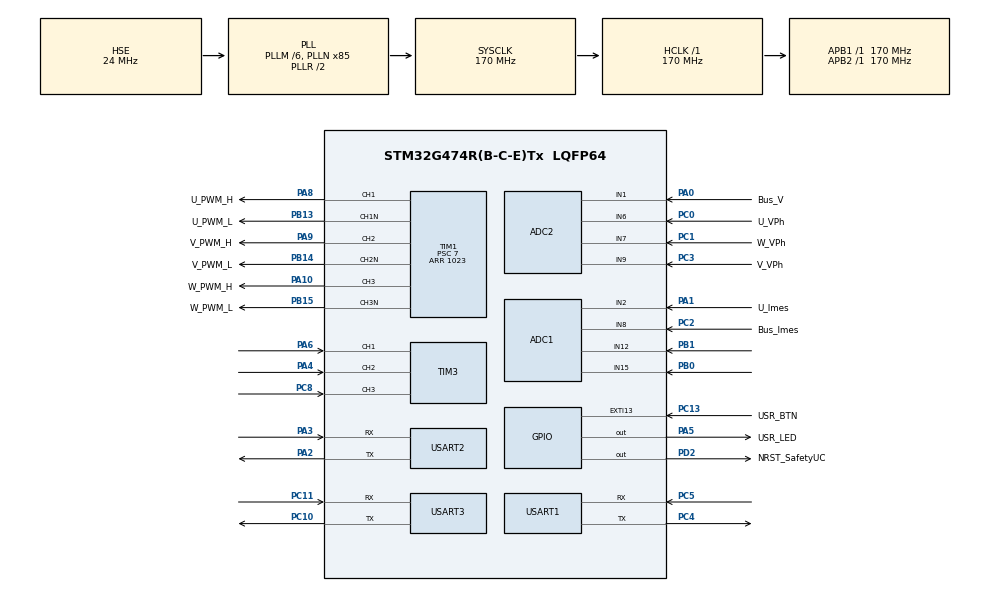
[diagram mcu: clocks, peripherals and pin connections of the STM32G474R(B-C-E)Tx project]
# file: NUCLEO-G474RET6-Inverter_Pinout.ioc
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ADC1.Channel-0\#ChannelRegularConversion=ADC_CHANNEL_8
ADC1.NbrOfConversionFlag=1
ADC1.OffsetNumber-0\#ChannelRegularConversion=ADC_OFFSET_NONE
ADC1.Rank-0\#ChannelRegularConversion=1
ADC1.SamplingTime-0\#ChannelRegularConversion=ADC_SAMPLETIME_2CYCLES_5
ADC1.master=1
ADC2.Channel-0\#ChannelRegularConversion=ADC_CHANNEL_6
ADC2.NbrOfConversionFlag=1
ADC2.OffsetNumber-0\#ChannelRegularConversion=ADC_OFFSET_NONE
ADC2.Rank-0\#ChannelRegularConversion=1
ADC2.SamplingTime-0\#ChannelRegularConversion=ADC_SAMPLETIME_2CYCLES_5
Mcu.Family=STM32G4
Mcu.Name=STM32G474R(B-C-E)Tx
Mcu.Package=LQFP64
NVIC.ADC1_2_IRQn=true\:0\:0\:false\:false\:true\:true\:true\:true
NVIC.EXTI15_10_IRQn=true\:0\:0\:false\:false\:true\:true\:true\:true
NVIC.PriorityGroup=NVIC_PRIORITYGROUP_4
NVIC.TIM1_UP_TIM16_IRQn=true\:0\:0\:false\:false\:true\:true\:true\:true
NVIC.TIM6_DAC_IRQn=true\:15\:0\:false\:false\:true\:false\:true\:true
NVIC.TIM7_DAC_IRQn=true\:0\:0\:false\:false\:true\:true\:true\:true
NVIC.TimeBase=TIM6_DAC_IRQn
NVIC.TimeBaseIP=TIM6
NVIC.USART2_IRQn=true\:0\:0\:false\:false\:true\:true\:true\:true
NVIC.USART3_IRQn=true\:0\:0\:false\:false\:true\:true\:true\:true
PA0.GPIO_Label=Bus_V
PA0.Mode=IN1-Single-Ended
PA0.Signal=ADC2_IN1
PA1.GPIO_Label=U_Imes
PA1.Mode=IN2-Single-Ended
PA1.Signal=ADC1_IN2
PA10.GPIO_Label=W_PWM_H
PA10.Signal=S_TIM1_CH3
PA13.GPIO_Label=T_SWDIO
PA13.Mode=Trace_Asynchronous_SW
PA13.Signal=SYS_JTMS-SWDIO
PA14.GPIO_Label=T_SWCLK
PA14.Mode=Trace_Asynchronous_SW
PA14.Signal=SYS_JTCK-SWCLK
PA2.Mode=Asynchronous
PA2.Signal=USART2_TX
PA3.Mode=Asynchronous
PA3.Signal=USART2_RX
PA4.Signal=S_TIM3_CH2
PA5.GPIO_Label=USR_LED
PA5.Signal=GPIO_Output
PA6.Signal=S_TIM3_CH1
PA8.GPIO_Label=U_PWM_H
PA8.Signal=S_TIM1_CH1
PA9.GPIO_Label=V_PWM_H
PA9.Signal=S_TIM1_CH2
PB0.Mode=IN15-Single-Ended
PB0.Signal=ADC1_IN15
PB1.Mode=IN12-Single-Ended
PB1.Signal=ADC1_IN12
PB13.GPIO_Label=U_PWM_L
PB13.Mode=PWM Generation1 CH1 CH1N
PB13.Signal=TIM1_CH1N
PB14.GPIO_Label=V_PWM_L
PB14.Mode=PWM Generation2 CH2 CH2N
PB14.Signal=TIM1_CH2N
PB15.GPIO_Label=W_PWM_L
PB15.Mode=PWM Generation3 CH3 CH3N
PB15.Signal=TIM1_CH3N
PB2.Signal=ADC2_IN12
PB3.GPIO_Label=T_SWO
PB3.Mode=Trace_Asynchronous_SW
PB3.Signal=SYS_JTDO-SWO
PC0.GPIO_Label=U_VPh
PC0.Mode=IN6-Single-Ended
PC0.Signal=ADC2_IN6
PC1.GPIO_Label=W_VPh
PC1.Mode=IN7-Single-Ended
PC1.Signal=ADC2_IN7
PC10.Mode=Asynchronous
PC10.Signal=USART3_TX
PC11.Mode=Asynchronous
PC11.Signal=USART3_RX
PC13.GPIO_Label=USR_BTN
PC13.Signal=GPXTI13
PC14-OSC32_IN.Mode=LSE-External-Oscillator
PC14-OSC32_IN.Signal=RCC_OSC32_IN
PC15-OSC32_OUT.Mode=LSE-External-Oscillator
PC15-OSC32_OUT.Signal=RCC_OSC32_OUT
PC2.GPIO_Label=Bus_Imes
PC2.Mode=IN8-Single-Ended
PC2.Signal=ADC1_IN8
PC3.GPIO_Label=V_VPh
PC3.Mode=IN9-Single-Ended
PC3.Signal=ADC2_IN9
PC4.Mode=Asynchronous
PC4.Signal=USART1_TX
PC5.Mode=Asynchronous
PC5.Signal=USART1_RX
PC8.Signal=S_TIM3_CH3
PD2.GPIO_Label=NRST_SafetyUC
PD2.Signal=GPIO_Output
PF0-OSC_IN.Mode=HSE-External-Oscillator
PF0-OSC_IN.Signal=RCC_OSC_IN
PF1-OSC_OUT.Mode=HSE-External-Oscillator
PF1-OSC_OUT.Signal=RCC_OSC_OUT
ProjectManager.HeapSize=0x200
ProjectManager.StackSize=0x400
ProjectManager.TargetToolchain=STM32CubeIDE
RCC.ADC12Freq_Value=170000000
RCC.ADC345Freq_Value=170000000
RCC.AHBFreq_Value=170000000
RCC.APB1Freq_Value=170000000
RCC.APB1TimFreq_Value=170000000
RCC.APB2Freq_Value=170000000
RCC.APB2TimFreq_Value=170000000
RCC.CortexFreq_Value=170000000
RCC.EXTERNAL_CLOCK_VALUE=12288000
RCC.HCLKFreq_Value=170000000
RCC.HSE_VALUE=24000000
RCC.HSI48_VALUE=48000000
RCC.HSI_VALUE=16000000
RCC.PLLM=RCC_PLLM_DIV6
RCC.PLLN=85
RCC.PLLSourceVirtual=RCC_PLLSOURCE_HSE
RCC.RTCClockSelection=RCC_RTCCLKSOURCE_LSE
RCC.SYSCLKFreq_VALUE=170000000
RCC.SYSCLKSource=RCC_SYSCLKSOURCE_PLLCLK
RCC.USBFreq_Value=170000000
RCC.VCOOutputFreq_Value=340000000
SH.S_TIM1_CH1.0=TIM1_CH1,PWM Generation1 CH1 CH1N
SH.S_TIM1_CH2.0=TIM1_CH2,PWM Generation2 CH2 CH2N
SH.S_TIM1_CH3.0=TIM1_CH3,PWM Generation3 CH3 CH3N
SH.S_TIM3_CH1.0=TIM3_CH1,Xored_Inputs_Hall_Sensor_Interface
SH.S_TIM3_CH2.0=TIM3_CH2,Xored_Inputs_Hall_Sensor_Interface
SH.S_TIM3_CH3.0=TIM3_CH3,Xored_Inputs_Hall_Sensor_Interface
TIM1.Channel-PWM\ Generation1\ CH1\ CH1N=TIM_CHANNEL_1
TIM1.Channel-PWM\ Generation2\ CH2\ CH2N=TIM_CHANNEL_2
TIM1.Channel-PWM\ Generation3\ CH3\ CH3N=TIM_CHANNEL_3
TIM1.CounterMode=TIM_COUNTERMODE_CENTERALIGNED1
TIM1.DeadTime=200
TIM1.OCMode_PWM-PWM\ Generation1\ CH1\ CH1N=TIM_OCMODE_PWM1
TIM1.OCMode_PWM-PWM\ Generation2\ CH2\ CH2N=TIM_OCMODE_PWM1
TIM1.PeriodNoDither=1023
TIM1.Prescaler=7
TIM1.PulseNoDither_1=819
TIM1.PulseNoDither_2=1023-819
TIM1.PulseNoDither_3=205
TIM7.PeriodNoDither=999
TIM7.Prescaler=3000
USART1.VirtualMode-Asynchronous=VM_ASYNC
USART2.VirtualMode-Asynchronous=VM_ASYNC
USART3.VirtualMode-Asynchronous=VM_ASYNC
VP_SYS_VS_DBSignals.Mode=DisableDeadBatterySignals
VP_SYS_VS_tim6.Mode=TIM6
VP_TIM16_VS_ClockSourceINT.Mode=Enable_Timer
VP_TIM7_VS_ClockSourceINT.Mode=Enable_Timer
board=NUCLEO-G474RE

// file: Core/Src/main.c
/* USER CODE BEGIN Header */
/**
 ******************************************************************************
 * @file           : main.c
 * @brief          : Main program body
 ******************************************************************************
 * @attention
 *
 * Copyright (c) 2023 STMicroelectronics.
 * All rights reserved.
 *
 * This software is licensed under terms that can be found in the LICENSE file
 * in the root directory of this software component.
 * If no LICENSE file comes with this software, it is provided AS-IS.
 *
 ******************************************************************************
 */
/* USER CODE END Header */
#include "main.h"
#include "adc.h"
#include "tim.h"
#include "usart.h"
#include "gpio.h"

/* USER CODE BEGIN Includes */
#include "mylibs/shell.h"
#include "string.h"
#include "stdio.h"
/* USER CODE END Includes */

/* USER CODE BEGIN PV */
int speedMesuree;
uint16_t adc_value;
float courant_mes;
float offset_courant;

/* USER CODE END PV */

void SystemClock_Config(void);
/* USER CODE BEGIN PFP */
void ChangeSpeed(int speedValue){
	TIM1->CCR1 = (TIM1->ARR)*speedValue/100;
	TIM1->CCR2 =  (TIM1->ARR)*(100-speedValue)/100;
}

void read_current()
{
	HAL_ADC_Start_IT(&hadc1);
}

/* USER CODE END PFP */

int main(void)
{
  /* USER CODE BEGIN 1 */
	speedMesuree=20;
  /* USER CODE END 1 */

  /* MCU Configuration--------------------------------------------------------*/

  /* Reset of all peripherals, Initializes the Flash interface and the Systick. */
  HAL_Init();

  /* USER CODE BEGIN Init */
	char buffer[20]="";
	int input;
	int nbChar =0;
	int vitesseCible;
  /* USER CODE END Init */

  /* Configure the system clock */
  SystemClock_Config();

  /* Initialize all configured peripherals */
  MX_GPIO_Init();
  MX_ADC2_Init();
  MX_ADC1_Init();
  MX_TIM1_Init();
  MX_TIM3_Init();
  MX_USART2_UART_Init();
  MX_USART3_UART_Init();
  MX_USART1_UART_Init();
  MX_TIM7_Init();
  MX_TIM16_Init();
  /* USER CODE BEGIN 2 */
	HAL_TIM_Base_Start_IT(&htim7);

	/*
	HAL_TIM_PWM_Start(&htim1,TIM_CHANNEL_1); //D11
	HAL_TIMEx_PWMN_Start(&htim1,TIM_CHANNEL_1);
	HAL_TIM_PWM_Start(&htim1,TIM_CHANNEL_2); //D5
	HAL_TIMEx_PWMN_Start(&htim1,TIM_CHANNEL_2);
	*/

	//HAL_ADC_Start_IT(&hadc1);
	HAL_ADC_Start(&hadc1);
	//HAL_ADCEx_Calibration_Start(&hadc1, ADC_SINGLE_ENDED);
	adc_value = HAL_ADC_GetValue(&hadc1);
	offset_courant=(((adc_value)/4096.0)*3.3);
	adc_value = 0;
	offset_courant = 0;

	//HAL_ADC_PollForConversion(&hadc1);

	Shell_Init();

	printf("Entrez 'speed XXXX' : ");
  /* USER CODE END 2 */

  /* Infinite loop */
  /* USER CODE BEGIN WHILE */
	while (1)
	{

		Shell_Loop();

    /* USER CODE END WHILE */

	}
}

void SystemClock_Config(void)
{
  RCC_OscInitTypeDef RCC_OscInitStruct = {0};
  RCC_ClkInitTypeDef RCC_ClkInitStruct = {0};

  /** Configure the main internal regulator output voltage
  */
  HAL_PWREx_ControlVoltageScaling(PWR_REGULATOR_VOLTAGE_SCALE1_BOOST);

  /** Initializes the RCC Oscillators according to the specified parameters
  * in the RCC_OscInitTypeDef structure.
  */
  RCC_OscInitStruct.OscillatorType = RCC_OSCILLATORTYPE_HSE;
  RCC_OscInitStruct.HSEState = RCC_HSE_ON;
  RCC_OscInitStruct.PLL.PLLState = RCC_PLL_ON;
  RCC_OscInitStruct.PLL.PLLSource = RCC_PLLSOURCE_HSE;
  RCC_OscInitStruct.PLL.PLLM = RCC_PLLM_DIV6;
  RCC_OscInitStruct.PLL.PLLN = 85;
  RCC_OscInitStruct.PLL.PLLP = RCC_PLLP_DIV2;
  RCC_OscInitStruct.PLL.PLLQ = RCC_PLLQ_DIV2;
  RCC_OscInitStruct.PLL.PLLR = RCC_PLLR_DIV2;
  if (HAL_RCC_OscConfig(&RCC_OscInitStruct) != HAL_OK)
  {
    Error_Handler();
  }

  /** Initializes the CPU, AHB and APB buses clocks
  */
  RCC_ClkInitStruct.ClockType = RCC_CLOCKTYPE_HCLK|RCC_CLOCKTYPE_SYSCLK
                              |RCC_CLOCKTYPE_PCLK1|RCC_CLOCKTYPE_PCLK2;
  RCC_ClkInitStruct.SYSCLKSource = RCC_SYSCLKSOURCE_PLLCLK;
  RCC_ClkInitStruct.AHBCLKDivider = RCC_SYSCLK_DIV1;
  RCC_ClkInitStruct.APB1CLKDivider = RCC_HCLK_DIV1;
  RCC_ClkInitStruct.APB2CLKDivider = RCC_HCLK_DIV1;

  if (HAL_RCC_ClockConfig(&RCC_ClkInitStruct, FLASH_LATENCY_4) != HAL_OK)
  {
    Error_Handler();
  }
}

void HAL_TIM_PeriodElapsedCallback(TIM_HandleTypeDef *htim)
{
  if (htim->Instance == TIM6) {
    HAL_IncTick();
  }
}

void Error_Handler(void)
{
	__disable_irq();
	while (1)
	{
	}
}
